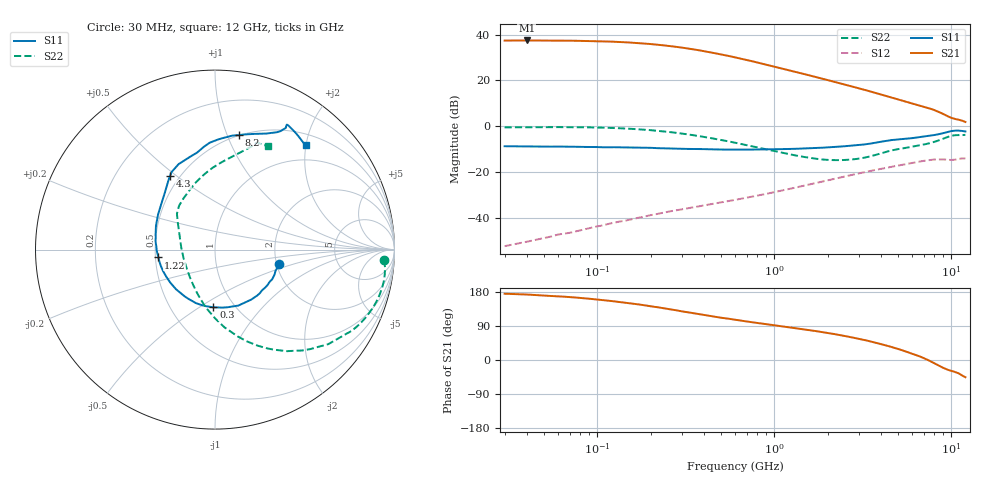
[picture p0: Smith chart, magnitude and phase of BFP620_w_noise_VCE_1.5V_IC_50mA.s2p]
! Infineon Technologies  Discrete & RF Semiconductors
! BFP620
! VCE =  1.5 V,  IC =  50 mA
! Common Emitter S-Parameters:  Nov 2015
# GHz  S  MA  R  50
!  f  S11  S21  S12  S22
! GHz  MAG  ANG  MAG  ANG  MAG  ANG  MAG  ANG
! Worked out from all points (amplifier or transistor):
!   239 points, 30 MHz to 12 GHz, reference 50 ohm
!   highest |S21| = 37.5 dB at 40 MHz (marker M1)
!   |S21| within 3 dB of that: start of sweep to 292.7 MHz
!   unconditionally stable (mu >= 1): 1.985 GHz to end of sweep
!   at 300 MHz: K = 0.48, MSG = 35.3 dB, |S12| = -36.3 dB
!   at 1.88 GHz: K = 0.99, MSG = 22.4 dB, |S12| = -24.1 dB
!   at 12 GHz: K = 1.08, MAG = 6.2 dB, |S12| = -14.1 dB
!   lowest NFmin = 1.51 dB at 450 MHz
!   S11 on the Smith chart (normalised r, x): 30 MHz: 2.06, -0.38; 300 MHz: 0.80, -0.57; 1.22 GHz: 0.52, -0.05; 4.3 GHz: 0.44, +0.47; 8.2 GHz: 0.50, +1.10; 12 GHz: 0.70, +1.99
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0.03  0.3659 -12.5  74.42 174.9  0.0024 99.6  0.9442 -3.5
0.04  0.3618 -16.4  74.79 172.8  0.003 93.9  0.9522 -5.9
0.05  0.3574 -18.9  74.47 169.8  0.0036 92.5  0.9561 -8.4
0.07  0.3588 -27.6  74.1 166.1  0.0047 85.9  0.9546 -13.3
0.085  0.3532 -32.1  73.02 162.8  0.0056 83.2  0.9474 -16.8
0.115  0.3475 -42.6  70.97 156.6  0.0073 79.8  0.9237 -23.5
0.145  0.3445 -52.2  68.14 151.0  0.0087 76.7  0.8916 -29.7
0.175  0.3386 -60.6  64.93 146.1  0.0102 74.4  0.8511 -35.1
0.2  0.3378 -67.4  62.51 141.8  0.0114 72.8  0.8217 -39.9
0.24  0.3287 -77.8  58.19 136.1  0.0131 70.6  0.7679 -46.2
0.3  0.3216 -91.5  52.27 128.5  0.0153 68.2  0.6934 -54.7
0.36  0.3183 -102.9  46.93 122.5  0.0173 66.9  0.6257 -61.8
0.45  0.3127 -116.8  40.16 115.0  0.0202 65.5  0.5407 -70.9
0.6  0.3097 -134.4  31.93 106.1  0.0246 64.4  0.4366 -83.0
0.8  0.3105 -150.4  24.72 97.7  0.0304 63.9  0.3444 -95.8
1.22  0.3188 -172.1  16.59 86.2  0.0427 62.1  0.2433 -117.5
1.64  0.332 173.5  12.43 77.7  0.0552 59.1  0.1998 -137.3
2.6  0.3708 149.4  7.81 61.8  0.0825 50.2  0.1853 -178.4
4.3  0.4801 121.5  4.569 38.1  0.1238 31.8  0.2765 139.5
4.5  0.4952 119.3  4.335 35.3  0.1282 29.8  0.2914 136.7
8.2  0.6525 78.1  2.172 -11.0  0.188 -10.1  0.469 89.1
12  0.7686 49.0  1.24 -45.4  0.1976 -40.5  0.6479 62.9
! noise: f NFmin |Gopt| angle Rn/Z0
0.45  1.51  0.29  -166  0.1
0.9  1.52  0.32  -155  0.11
1.9  1.54  0.35  -138  0.12
2.4  1.56  0.35  -136  0.13
3.5  1.59  0.41  -105  0.23
5.5  1.87  0.43  -85  0.32
10  2.18  0.66  -43  1.22
